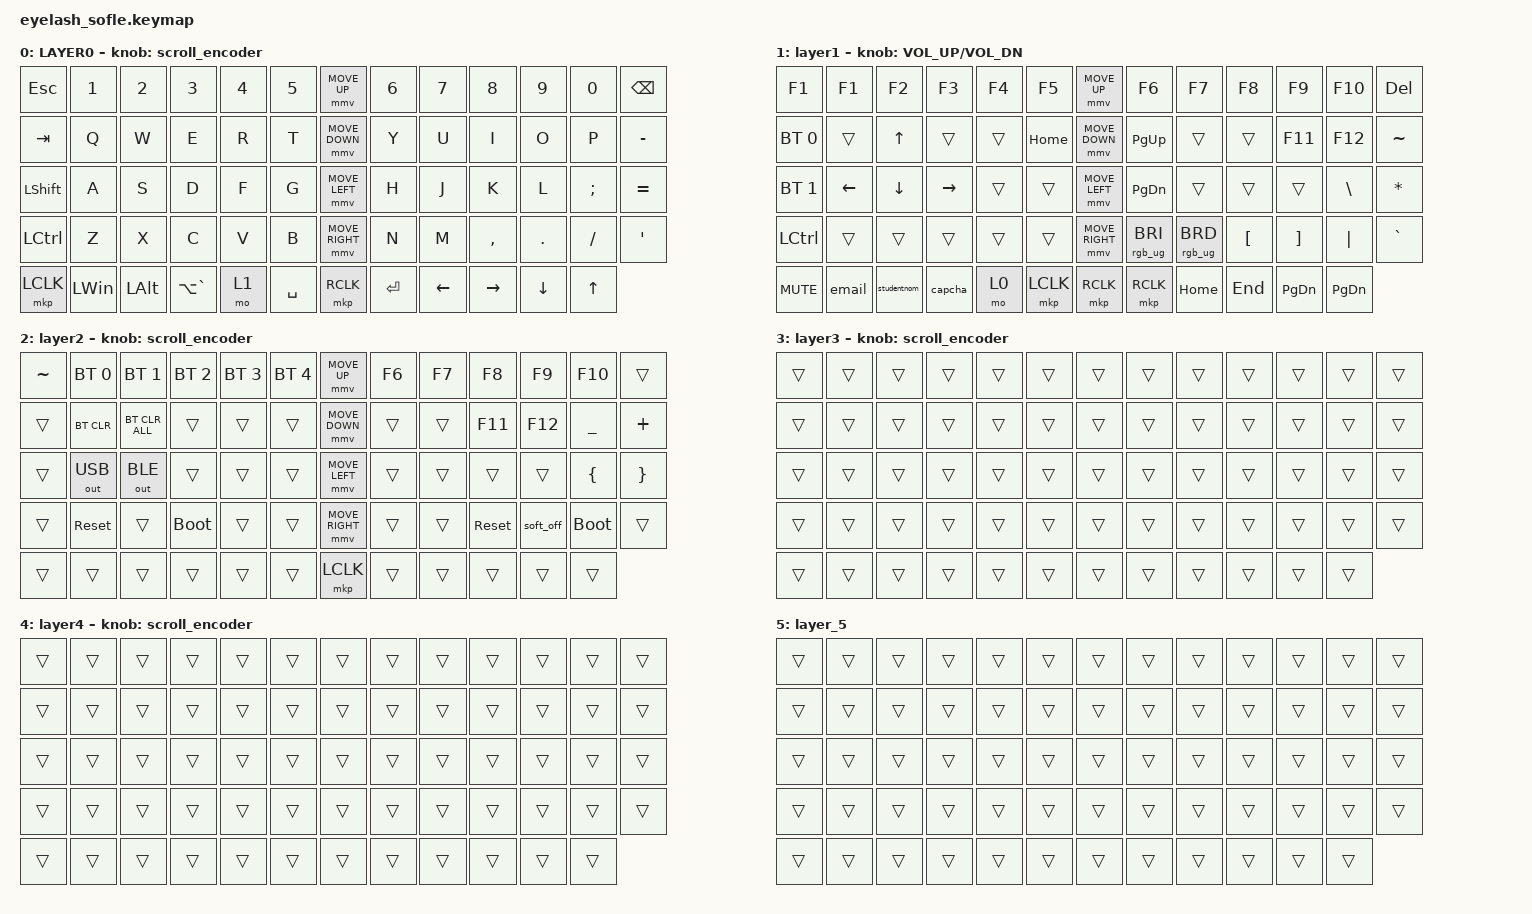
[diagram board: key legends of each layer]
#define ZMK_POINTING_DEFAULT_MOVE_VAL 1200  // 600
#define ZMK_POINTING_DEFAULT_SCRL_VAL 25   // 10

#include <input/processors.dtsi>
#include <zephyr/dt-bindings/input/input-event-codes.h>
#include <behaviors.dtsi>
#include <dt-bindings/zmk/bt.h>
#include <dt-bindings/zmk/keys.h>
#include <dt-bindings/zmk/outputs.h>
#include <dt-bindings/zmk/pointing.h>
#include <dt-bindings/zmk/rgb.h>

&mmv_input_listener { input-processors = <&zip_xy_scaler 2 1>; };

&msc_input_listener { input-processors = <&zip_scroll_scaler 2 1>; };

&msc {
    acceleration-exponent = <1>;      // 0
    time-to-max-speed-ms = <100>;       // 300
    delay-ms = <0>;                   // 0
};

&mmv {
    time-to-max-speed-ms = <500>;
    acceleration-exponent = <1>;
    trigger-period-ms = <16>;
};

&soft_off { hold-time-ms = <2000>; };

/ {
    scroll_encoder: scroll_encoder {
        compatible = "zmk,behavior-sensor-rotate";
        #sensor-binding-cells = <0>;
        bindings = <&msc SCRL_DOWN>, <&msc SCRL_UP>;

        tap-ms = <100>;
    };

    behaviors {
    };

    combos {
        compatible = "zmk,combos";

        softoff {
            bindings = <&soft_off>;
            key-positions = <14 28 40>;
        };
    };

    macros {
        SHIFT_MCLK: SHIFT_MCLK {
            compatible = "zmk,behavior-macro";
            #binding-cells = <0>;
            bindings =
                <&macro_press>,
                <&kp LEFT_SHIFT>,
                <&macro_press>,
                <&mkp MB3>,
                <&macro_pause_for_release>,
                <&macro_release>,
                <&kp LEFT_SHIFT &mkp MB3>;

            label = "SHIFT_MCLK";
        };

        email: email {
            compatible = "zmk,behavior-macro";
            #binding-cells = <0>;
            bindings = <&kp W &kp A &kp D &kp A &kp PERIOD &kp S &kp H &kp O &kp T &kp A &kp AT_SIGN &kp J &kp P &kp PERIOD &kp F &kp U &kp J &kp I &kp T &kp S &kp U &kp PERIOD &kp C &kp O &kp M>;
            label = "EMAIL";
        };

        studentnom: studentnom {
            compatible = "zmk,behavior-macro";
            #binding-cells = <0>;
            bindings = <&kp LS(E) &kp NUMBER_1 &kp A &kp N0 &kp NUMBER_6 &kp NUMBER_1 &kp NUMBER_6 &kp NUMBER_3 &kp MINUS>;
            label = "STUDENTNOM";
        };

        capcha: capcha {
            compatible = "zmk,behavior-macro";
            #binding-cells = <0>;
            bindings =
                <&macro_press>,
                <&kp LEFT_WIN>,
                <&macro_press>,
                <&kp LEFT_SHIFT>,
                <&macro_press>,
                <&kp S>,
                <&macro_release>,
                <&kp LEFT_WIN>,
                <&macro_release>,
                <&kp LEFT_SHIFT>,
                <&macro_release>,
                <&kp S>;

            label = "CAPCHA";
        };

        kana: kana {
            compatible = "zmk,behavior-macro";
            #binding-cells = <0>;
            bindings = <&macro_press>, <&none>;

            label = "KANA";
        };
    };

    keymap {
        compatible = "zmk,keymap";

        layer0 {
            bindings = <
&kp ESC           &kp NUMBER_1  &kp NUMBER_2  &kp NUMBER_3   &kp NUMBER_4  &kp NUMBER_5    &mmv MOVE_UP     &kp NUMBER_6  &kp NUMBER_7  &kp NUMBER_8  &kp NUMBER_9  &kp NUMBER_0   &kp BACKSPACE
&kp TAB           &kp Q         &kp W         &kp E          &kp R         &kp T           &mmv MOVE_DOWN   &kp Y         &kp U         &kp I         &kp O         &kp P          &kp MINUS
&kp LEFT_SHIFT    &kp A         &kp S         &kp D          &kp F         &kp G           &mmv MOVE_LEFT   &kp H         &kp J         &kp K         &kp L         &kp SEMICOLON  &kp EQUAL
&kp LEFT_CONTROL  &kp Z         &kp X         &kp C          &kp V         &kp B           &mmv MOVE_RIGHT  &kp N         &kp M         &kp COMMA     &kp PERIOD    &kp SLASH      &kp SQT
&mkp LCLK         &kp LEFT_WIN  &kp LEFT_ALT  &kp LA(GRAVE)  &mo 1         &kp SPACE       &mkp RCLK        &kp ENTER     &kp LEFT      &kp RIGHT     &kp DOWN      &kp UP
            >;

            sensor-bindings = <&scroll_encoder>;
            display-name = "LAYER0";
        };

        layer_1 {
            bindings = <
&kp F1        &kp F1    &kp F2       &kp F3     &kp F4  &kp F5       &mmv MOVE_UP     &kp F6           &kp F7           &kp F8            &kp F9             &kp F10        &kp DEL
&bt BT_SEL 0  &trans    &kp UP       &trans     &trans  &kp HOME     &mmv MOVE_DOWN   &kp PG_UP        &trans           &trans            &kp F11            &kp F12        &kp TILDE
&bt BT_SEL 1  &kp LEFT  &kp DOWN     &kp RIGHT  &trans  &trans       &mmv MOVE_LEFT   &kp PG_DN        &trans           &trans            &trans             &kp BSLH       &kp ASTERISK
&kp LCTRL     &trans    &trans       &trans     &trans  &trans       &mmv MOVE_RIGHT  &rgb_ug RGB_BRI  &rgb_ug RGB_BRD  &kp LEFT_BRACKET  &kp RIGHT_BRACKET  &kp PIPE       &kp GRAVE
&kp C_MUTE    &email    &studentnom  &capcha    &mo 0   &mkp LCLK    &mkp RCLK        &mkp RCLK        &kp HOME         &kp END           &kp PAGE_DOWN      &kp PAGE_DOWN
            >;

            display-name = "layer1";
            sensor-bindings = <&inc_dec_kp C_VOL_UP C_VOL_DN>;
        };

        layer_2 {
            bindings = <
&kp TILDE  &bt BT_SEL 0  &bt BT_SEL 1    &bt BT_SEL 2  &bt BT_SEL 3  &bt BT_SEL 4    &mmv MOVE_UP     &kp F6  &kp F7  &kp F8      &kp F9     &kp F10      &trans
&trans     &bt BT_CLR    &bt BT_CLR_ALL  &trans        &trans        &trans          &mmv MOVE_DOWN   &trans  &trans  &kp F11     &kp F12    &kp UNDER    &kp PLUS
&trans     &out OUT_USB  &out OUT_BLE    &trans        &trans        &trans          &mmv MOVE_LEFT   &trans  &trans  &trans      &trans     &kp LBRC     &kp RBRC
&trans     &sys_reset    &trans          &bootloader   &trans        &trans          &mmv MOVE_RIGHT  &trans  &trans  &sys_reset  &soft_off  &bootloader  &trans
&trans     &trans        &trans          &trans        &trans        &trans          &mkp LCLK        &trans  &trans  &trans      &trans     &trans
            >;

            display-name = "layer2";
            sensor-bindings = <&scroll_encoder>;
        };

        layer_3 {
            bindings = <
&trans  &trans  &trans  &trans  &trans  &trans    &trans  &trans  &trans  &trans  &trans  &trans  &trans
&trans  &trans  &trans  &trans  &trans  &trans    &trans  &trans  &trans  &trans  &trans  &trans  &trans
&trans  &trans  &trans  &trans  &trans  &trans    &trans  &trans  &trans  &trans  &trans  &trans  &trans
&trans  &trans  &trans  &trans  &trans  &trans    &trans  &trans  &trans  &trans  &trans  &trans  &trans
&trans  &trans  &trans  &trans  &trans  &trans    &trans  &trans  &trans  &trans  &trans  &trans
            >;

            display-name = "layer3";
            sensor-bindings = <&scroll_encoder>;
        };

        layer_4 {
            bindings = <
&trans  &trans  &trans  &trans  &trans  &trans    &trans  &trans  &trans  &trans  &trans  &trans  &trans
&trans  &trans  &trans  &trans  &trans  &trans    &trans  &trans  &trans  &trans  &trans  &trans  &trans
&trans  &trans  &trans  &trans  &trans  &trans    &trans  &trans  &trans  &trans  &trans  &trans  &trans
&trans  &trans  &trans  &trans  &trans  &trans    &trans  &trans  &trans  &trans  &trans  &trans  &trans
&trans  &trans  &trans  &trans  &trans  &trans    &trans  &trans  &trans  &trans  &trans  &trans
            >;

            display-name = "layer4";
            sensor-bindings = <&scroll_encoder>;
        };

        layer_5 {
            bindings = <
&trans  &trans  &trans  &trans  &trans  &trans    &trans  &trans  &trans  &trans  &trans  &trans  &trans
&trans  &trans  &trans  &trans  &trans  &trans    &trans  &trans  &trans  &trans  &trans  &trans  &trans
&trans  &trans  &trans  &trans  &trans  &trans    &trans  &trans  &trans  &trans  &trans  &trans  &trans
&trans  &trans  &trans  &trans  &trans  &trans    &trans  &trans  &trans  &trans  &trans  &trans  &trans
&trans  &trans  &trans  &trans  &trans  &trans    &trans  &trans  &trans  &trans  &trans  &trans
            >;
        };
    };
};
